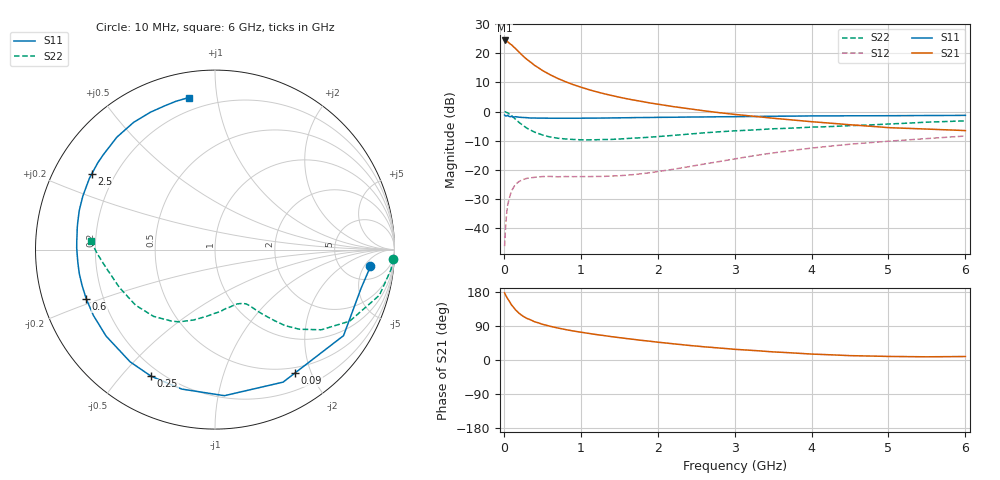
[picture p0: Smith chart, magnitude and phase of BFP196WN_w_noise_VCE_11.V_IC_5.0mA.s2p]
! Infineon Technologies  Discrete & RF Semiconductors
! BFP196WN
! VCE =  11. V,  IC =  5.0 mA
! Common Emitter S-Parameters:  Jan 2017
# GHz  S  MA  R  50
!  f  S11  S21  S12  S22
! GHz  MAG  ANG  MAG  ANG  MAG  ANG  MAG  ANG
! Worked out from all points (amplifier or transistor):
!   77 points, 10 MHz to 6 GHz, reference 50 ohm
!   highest |S21| = 24.4 dB at 10 MHz (marker M1)
!   |S21| within 3 dB of that: start of sweep to 159.9 MHz
!   unconditionally stable (mu >= 1): 1.375 GHz to 2.595 GHz
!   at 130 MHz: K = 0.12, MSG = 24.0 dB, |S12| = -25.9 dB
!   at 2.2 GHz: K = 1.09, MAG = 8.9 dB, |S12| = -19.8 dB
!   at 6 GHz: K = 0.89, MSG = 0.9 dB, |S12| = -8.4 dB
!   lowest NFmin = 1.08 dB at 450 MHz
!   S11 on the Smith chart (normalised r, x): 10 MHz: 9, -7; 90 MHz: 0.42, -1.77; 250 MHz: 0.16, -0.60; 600 MHz: 0.14, -0.18; 2.5 GHz: 0.12, +0.28; 6 GHz: 0.13, +0.83
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0.01  0.8712 -6.2  16.57 177.2  0.0049 85.1  0.9913 -2.9
0.02  0.8419 -14.9  16.07 172.4  0.0092 81.6  0.9877 -6.3
0.05  0.8618 -33.8  15.77 161.4  0.0248 71.6  0.9506 -15.5
0.09  0.8191 -56.9  14.21 148.7  0.0396 60.7  0.8663 -25.3
0.1  0.8301 -62.8  13.95 145.2  0.0434 59.2  0.8496 -28.0
0.15  0.8156 -86.3  12.09 132.7  0.0561 47.9  0.7421 -37.0
0.2  0.7989 -103.4  10.37 122.9  0.0633 40.6  0.6472 -43.3
0.25  0.7901 -116.8  8.954 115.5  0.0681 35.4  0.5767 -47.3
0.3  0.784 -127.1  7.832 109.7  0.0715 31.5  0.5176 -50.0
0.4  0.7749 -141.6  6.197 100.8  0.0744 27.2  0.4426 -53.9
0.5  0.7704 -151.6  5.076 94.4  0.0766 24.6  0.3969 -56.4
0.6  0.768 -159.1  4.29 89.1  0.0771 23.6  0.366 -58.4
0.7  0.767 -164.9  3.698 84.5  0.076 23.2  0.3485 -60.2
0.8  0.7678 -169.9  3.257 80.4  0.0767 24.5  0.3385 -62.5
1.1  0.7706 179.3  2.385 70.3  0.0765 28.6  0.3268 -69.9
1.5  0.7796 168.8  1.761 59.1  0.0792 38.2  0.3371 -81.5
2.1  0.7956 156.1  1.276 45.0  0.0976 53.9  0.3802 -99.1
2.5  0.8056 148.6  1.074 36.8  0.1191 60.3  0.4196 -109.7
3.1  0.818 138.0  0.867 27.0  0.1618 63.4  0.4729 -123.9
4.1  0.8413 121.1  0.654 14.9  0.2436 58.5  0.5443 -147.8
5.1  0.8491 108.6  0.523 9.2  0.3161 49.3  0.619 -171.4
6  0.8598 99.8  0.471 9.2  0.3801 41.1  0.6924 176.0
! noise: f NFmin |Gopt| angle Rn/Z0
0.45  1.08  0.44  121  0.07
0.9  1.21  0.58  158  0.06
1.9  2.72  0.75  203  0.15
2.4  3.62  0.76  211  0.29
